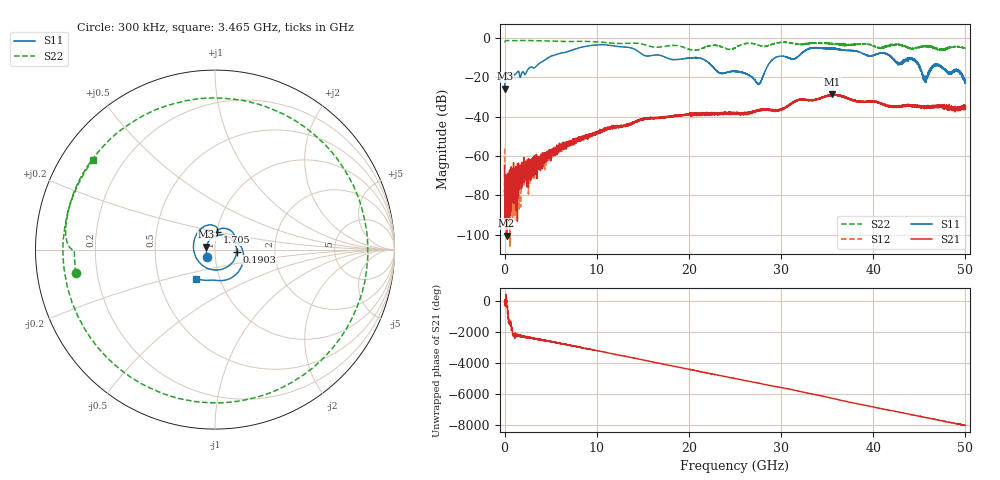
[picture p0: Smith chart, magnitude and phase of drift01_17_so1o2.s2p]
!Created with skrf (http://scikit-rf.org).
# Hz S RI R 50.0
!freq ReS11 ImS11 ReS21 ImS21 ReS12 ImS12 ReS22 ImS22
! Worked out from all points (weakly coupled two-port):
!   10001 points, 300 kHz to 50 GHz, reference 50 ohm
!   highest |S21| = -28.72 dB at 35.58 GHz (marker M1); lowest = -100.4 dB at 215.3 MHz (marker M2)
!   lowest |S11| = -25.8 dB at 5.3 MHz (marker M3), VSWR 1.11, Z = 45.3 + j1.42 ohm
!   |S11| at or under -10 dB: start of sweep to 4.764 GHz; 20.7 GHz to 29.41 GHz (8.719 GHz wide, 34.8 % of centre); 44.04 GHz to end of sweep (the widest 3 of 9)
!   |S22| runs from -6.5 to -1.4 dB; largest |S21 - S12| = 0.0049
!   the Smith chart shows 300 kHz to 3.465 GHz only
!   S11 on the Smith chart (normalised r, x): 300 kHz: 0.91, -0.07; 190.3 MHz: 1.27, -0.03; 1.705 GHz: 1.00, +0.20; 3.465 GHz: 0.77, -0.26
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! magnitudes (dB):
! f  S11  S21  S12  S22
! 300 kHz  -24.2  -64.7  -56.3  -2.1
! 5.3 MHz  -25.8  -79.7  -78.4  -2.1
! 190.3 MHz  -18.3  -74.8  -77.4  -1.4
! 215.3 MHz  -18.3  -100.4  -74.4  -1.4
! 780.3 MHz  -19.0  -76.1  -81.4  -1.5
! 1.705 GHz  -20.1  -73.8  -70.0  -1.4
! 3.465 GHz  -14.3  -62.4  -64.8  -1.5
! 8.335 GHz  -4.8  -50.9  -50.7  -1.8
! 16.67 GHz  -8.7  -40.7  -40.5  -4.8
! 25 GHz  -17.0  -38.1  -38.6  -5.1
! 27.59 GHz  -23.5  -37.0  -36.9  -3.8
! 29.28 GHz  -10.3  -36.8  -36.8  -2.9
! 31.45 GHz  -10.8  -32.5  -32.5  -3.0
! 33.34 GHz  -5.2  -31.7  -31.6  -2.7
! 35.58 GHz  -5.3  -28.7  -29.2  -2.9
! 41.67 GHz  -8.9  -34.7  -34.6  -4.2
! 42.74 GHz  -12.7  -34.9  -35.0  -3.3
! 44.4 GHz  -11.5  -34.5  -34.2  -5.3
! 45.63 GHz  -21.7  -35.5  -34.9  -4.3
! 46.93 GHz  -13.6  -34.8  -34.6  -5.4
! 49.25 GHz  -16.9  -35.5  -35.8  -4.6
! 50 GHz  -22.5  -35.0  -35.3  -5.4
